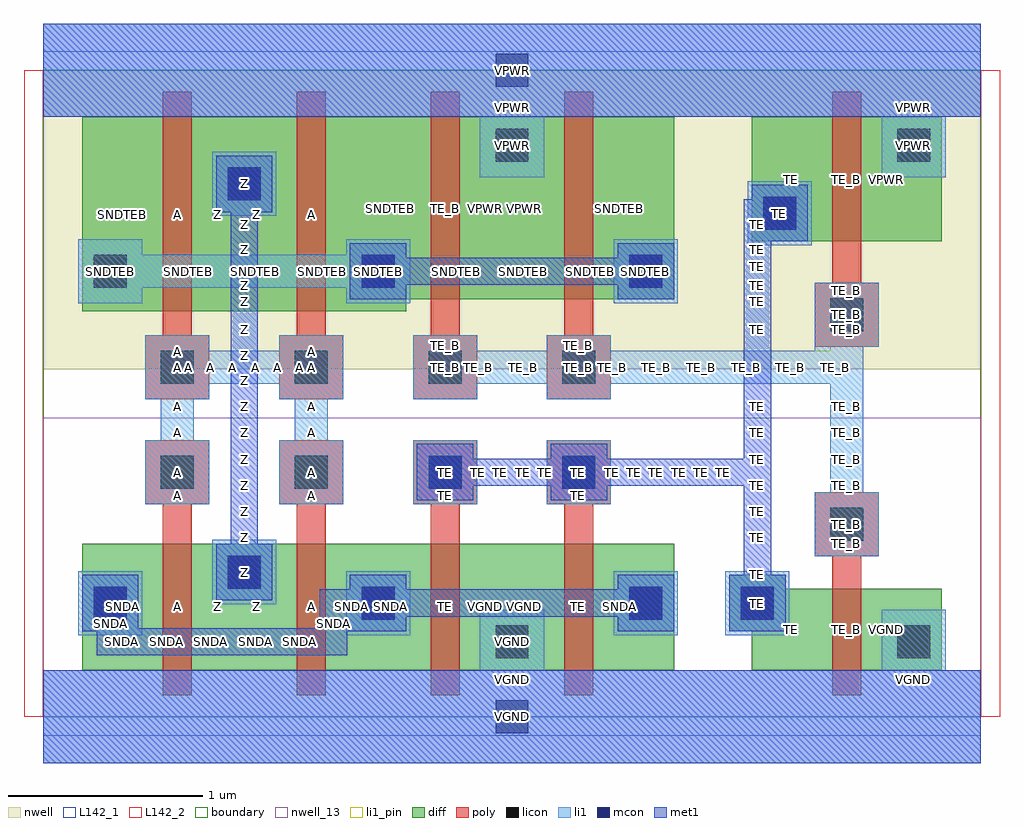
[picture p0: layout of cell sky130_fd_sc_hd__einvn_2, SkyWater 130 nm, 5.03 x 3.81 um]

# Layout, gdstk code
import gdstk
lib = gdstk.Library(unit=1e-6, precision=1e-09)
def R(c, l, rs):  # rectangles x0, y0, x1, y1
    for r in rs: c.add(gdstk.rectangle(r[:2], r[2:], *l))
def A(c, l, x, y, w, h, nx, ny, dx, dy):  # array of equal rectangles
    R(c, l, [(x+i*dx, y+j*dy, x+i*dx+w, y+j*dy+h) for i in range(nx) for j in range(ny)])
def P(c, l, *ps):  # polygons
    for p in ps: c.add(gdstk.Polygon(p, *l))
nwell_13 = (64, 13)
nwell = (64, 20)
diff = (65, 20)
poly = (66, 20)
licon = (66, 44)
li1_pin = (67, 16)
li1 = (67, 20)
mcon = (67, 44)
met1 = (68, 20)
L142_1 = (142, 1)
L142_2 = (142, 2)
boundary = (235, 4)

sky130_fd_sc_hd__einvn_2 = lib.new_cell('sky130_fd_sc_hd__einvn_2')
R(sky130_fd_sc_hd__einvn_2, nwell_13, [(0,0,4.83,1.54)])
R(sky130_fd_sc_hd__einvn_2, nwell, [(0,1.79,4.83,3.33)])
A(sky130_fd_sc_hd__einvn_2, diff, 0.615, 0.24, 0.69, 0.65, 3, 1, 0.69, 0)
R(sky130_fd_sc_hd__einvn_2, diff, [(0.2,0.24,3.25,0.89), (0.2,0.24,0.615,0.89), (2.685,0.24,3.25,0.89), (3.65,0.24,4.63,0.66), (4.065,0.24,4.63,0.66), (0.2,2.09,0.615,3.09), (0.615,2.09,1.305,3.09), (1.995,2.15,2.685,3.09), (2.685,2.15,3.25,3.09), (3.65,2.45,4.63,3.09), (3.65,2.45,4.065,3.09), (4.065,2.45,4.63,3.09)])
P(sky130_fd_sc_hd__einvn_2, diff, [(0.2,2.09),(0.2,3.09),(3.25,3.09),(3.25,2.15),(1.87,2.15),(1.87,2.09)],
  [(3.65,0.24),(3.65,0.44),(3.535,0.44),(3.535,0.73),(3.825,0.73),(3.825,0.66),(4.065,0.66),(4.065,0.24)],
  [(1.305,2.09),(1.305,3.09),(1.995,3.09),(1.995,2.15),(1.87,2.15),(1.87,2.09)])
P(sky130_fd_sc_hd__einvn_2, poly, [(1.995,0.11),(1.995,1.095),(1.905,1.095),(1.905,1.425),(2.235,1.425),(2.235,1.095),(2.145,1.095),(2.145,0.11)],
  [(2.685,0.11),(2.685,1.095),(2.595,1.095),(2.595,1.425),(2.925,1.425),(2.925,1.095),(2.835,1.095),(2.835,0.11)],
  [(4.065,0.11),(4.065,0.825),(3.975,0.825),(3.975,1.155),(4.305,1.155),(4.305,0.825),(4.215,0.825),(4.215,0.11)],
  [(1.905,1.635),(1.905,1.965),(1.995,1.965),(1.995,3.22),(2.145,3.22),(2.145,1.965),(2.235,1.965),(2.235,1.635)],
  [(2.595,1.635),(2.595,1.965),(2.685,1.965),(2.685,3.22),(2.835,3.22),(2.835,1.965),(2.925,1.965),(2.925,1.635)],
  [(3.975,1.905),(3.975,2.235),(4.065,2.235),(4.065,3.22),(4.215,3.22),(4.215,2.235),(4.305,2.235),(4.305,1.905)],
  [(0.615,0.11),(0.615,1.095),(0.525,1.095),(0.525,1.425),(0.855,1.425),(0.855,1.095),(0.765,1.095),(0.765,0.11)],
  [(1.305,0.11),(1.305,1.095),(1.215,1.095),(1.215,1.425),(1.545,1.425),(1.545,1.095),(1.455,1.095),(1.455,0.11)],
  [(0.525,1.635),(0.525,1.965),(0.615,1.965),(0.615,3.22),(0.765,3.22),(0.765,1.965),(0.855,1.965),(0.855,1.635)],
  [(1.215,1.635),(1.215,1.965),(1.305,1.965),(1.305,3.22),(1.455,3.22),(1.455,1.965),(1.545,1.965),(1.545,1.635)])
A(sky130_fd_sc_hd__einvn_2, licon, 0.26, 0.5, 0.17, 0.17, 3, 2, 1.38, 1.71)
A(sky130_fd_sc_hd__einvn_2, licon, 0.605, 1.175, 0.17, 0.17, 4, 2, 0.69, 0.54)
R(sky130_fd_sc_hd__einvn_2, licon, [(2.33,0.3,2.5,0.47), (4.4,0.3,4.57,0.47), (3.595,0.5,3.765,0.67), (0.95,0.66,1.12,0.83), (4.055,0.905,4.225,1.075), (4.055,1.985,4.225,2.155), (3.71,2.51,3.88,2.68), (0.95,2.66,1.12,2.83), (2.33,2.86,2.5,3.03), (4.4,2.86,4.57,3.03)])
R(sky130_fd_sc_hd__einvn_2, li1_pin, [(0,-0.24,4.83,0.24), (0.87,0.58,1.2,0.91), (0,3.09,4.83,3.57)])
P(sky130_fd_sc_hd__einvn_2, li1_pin, [(3.975,0.825),(3.975,1.155),(4.055,1.155),(4.055,1.715),(2.925,1.715),(2.925,1.635),(2.595,1.635),(2.595,1.715),(2.235,1.715),(2.235,1.635),(1.905,1.635),(1.905,1.965),(2.235,1.965),(2.235,1.885),(2.595,1.885),(2.595,1.965),(2.925,1.965),(2.925,1.885),(4.055,1.885),(4.055,1.905),(3.975,1.905),(3.975,2.235),(4.305,2.235),(4.305,1.905),(4.225,1.905),(4.225,1.155),(4.305,1.155),(4.305,0.825)],
  [(0.525,1.095),(0.525,1.425),(0.605,1.425),(0.605,1.635),(0.525,1.635),(0.525,1.965),(0.855,1.965),(0.855,1.885),(1.215,1.885),(1.215,1.965),(1.545,1.965),(1.545,1.635),(1.465,1.635),(1.465,1.425),(1.545,1.425),(1.545,1.095),(1.215,1.095),(1.215,1.425),(1.295,1.425),(1.295,1.635),(1.215,1.635),(1.215,1.715),(0.855,1.715),(0.855,1.635),(0.775,1.635),(0.775,1.425),(0.855,1.425),(0.855,1.095)])
A(sky130_fd_sc_hd__einvn_2, li1, 0.18, 0.42, 0.33, 0.33, 3, 1, 1.38, 0)
R(sky130_fd_sc_hd__einvn_2, li1, [(3.515,0.42,3.845,0.75), (0.87,0.58,1.2,0.91), (1.905,1.095,2.235,1.425), (2.595,1.095,2.925,1.425), (3.975,1.885,4.055,1.905), (2.94,2.13,3.27,2.46), (3.63,2.43,3.96,2.76), (0.87,2.58,1.2,2.91)])
P(sky130_fd_sc_hd__einvn_2, li1, [(0.18,2.13),(0.18,2.46),(0.51,2.46),(0.51,2.38),(1.56,2.38),(1.56,2.46),(1.89,2.46),(1.89,2.13),(1.56,2.13),(1.56,2.21),(0.51,2.21),(0.51,2.13)],
  [(2.25,2.78),(2.25,3.09),(0,3.09),(0,3.57),(4.83,3.57),(4.83,3.09),(4.65,3.09),(4.65,2.78),(4.32,2.78),(4.32,3.09),(2.58,3.09),(2.58,2.78)],
  [(0,-0.24),(0,0.24),(2.25,0.24),(2.25,0.55),(2.58,0.55),(2.58,0.24),(4.32,0.24),(4.32,0.55),(4.65,0.55),(4.65,0.24),(4.83,0.24),(4.83,-0.24)],
  [(3.975,0.825),(3.975,1.155),(4.055,1.155),(4.055,1.715),(2.925,1.715),(2.925,1.635),(2.595,1.635),(2.595,1.715),(2.235,1.715),(2.235,1.635),(1.905,1.635),(1.905,1.965),(2.235,1.965),(2.235,1.885),(2.595,1.885),(2.595,1.965),(2.925,1.965),(2.925,1.885),(4.055,1.885),(4.055,1.905),(3.975,1.905),(3.975,2.235),(4.305,2.235),(4.305,1.905),(4.225,1.905),(4.225,1.155),(4.305,1.155),(4.305,0.825)],
  [(0.525,1.095),(0.525,1.425),(0.605,1.425),(0.605,1.635),(0.525,1.635),(0.525,1.965),(0.855,1.965),(0.855,1.885),(1.215,1.885),(1.215,1.965),(1.545,1.965),(1.545,1.635),(1.465,1.635),(1.465,1.425),(1.545,1.425),(1.545,1.095),(1.215,1.095),(1.215,1.425),(1.295,1.425),(1.295,1.635),(1.215,1.635),(1.215,1.715),(0.855,1.715),(0.855,1.635),(0.775,1.635),(0.775,1.425),(0.855,1.425),(0.855,1.095)])
A(sky130_fd_sc_hd__einvn_2, mcon, 0.26, 0.5, 0.17, 0.17, 3, 1, 1.38, 0)
R(sky130_fd_sc_hd__einvn_2, mcon, [(2.33,-0.085,2.5,0.085), (3.595,0.5,3.765,0.67), (0.95,0.66,1.12,0.83), (1.985,1.175,2.155,1.345), (2.675,1.175,2.845,1.345), (1.64,2.21,1.81,2.38), (3.02,2.21,3.19,2.38), (3.71,2.51,3.88,2.68), (0.95,2.66,1.12,2.83), (2.33,3.245,2.5,3.415)])
R(sky130_fd_sc_hd__einvn_2, met1, [(0,-0.24,4.83,0.24), (1.565,0.44,1.58,0.515), (0,3.09,4.83,3.57)])
P(sky130_fd_sc_hd__einvn_2, met1, [(1.58,2.15),(1.58,2.44),(1.87,2.44),(1.87,2.365),(2.96,2.365),(2.96,2.44),(3.25,2.44),(3.25,2.15),(2.96,2.15),(2.96,2.225),(1.87,2.225),(1.87,2.15)],
  [(3.535,0.44),(3.535,0.73),(3.61,0.73),(3.61,1.19),(2.905,1.19),(2.905,1.115),(2.615,1.115),(2.615,1.19),(2.215,1.19),(2.215,1.115),(1.925,1.115),(1.925,1.405),(2.215,1.405),(2.215,1.33),(2.615,1.33),(2.615,1.405),(2.905,1.405),(2.905,1.33),(3.61,1.33),(3.61,2.665),(3.65,2.665),(3.65,2.74),(3.94,2.74),(3.94,2.45),(3.75,2.45),(3.75,0.73),(3.825,0.73),(3.825,0.44)],
  [(0.89,0.6),(0.89,0.89),(0.965,0.89),(0.965,2.6),(0.89,2.6),(0.89,2.89),(1.18,2.89),(1.18,2.6),(1.105,2.6),(1.105,0.89),(1.18,0.89),(1.18,0.6)],
  [(0.275,0.315),(0.275,0.44),(0.2,0.44),(0.2,0.73),(0.49,0.73),(0.49,0.455),(1.425,0.455),(1.425,0.655),(1.58,0.655),(1.58,0.73),(1.87,0.73),(1.87,0.655),(2.96,0.655),(2.96,0.73),(3.25,0.73),(3.25,0.44),(2.96,0.44),(2.96,0.515),(1.87,0.515),(1.87,0.44),(1.58,0.44),(1.58,0.515),(1.565,0.515),(1.565,0.315)])
R(sky130_fd_sc_hd__einvn_2, L142_1, [(0,-0.1,4.83,0), (0,3.33,4.83,3.43)])
R(sky130_fd_sc_hd__einvn_2, L142_2, [(-0.1,0,0,3.33), (4.83,0,4.93,3.33)])
R(sky130_fd_sc_hd__einvn_2, boundary, [(0,0,4.83,3.33)])
sky130_fd_sc_hd__einvn_2.add(gdstk.Label('SNDA', (1.787,0.565), layer=65, texttype=20))
sky130_fd_sc_hd__einvn_2.add(gdstk.Label('VGND', (2.277,0.565), layer=65, texttype=20))
sky130_fd_sc_hd__einvn_2.add(gdstk.Label('TE', (3.857,0.45), layer=65, texttype=20))
sky130_fd_sc_hd__einvn_2.add(gdstk.Label('VGND', (4.347,0.45), layer=65, texttype=20))
sky130_fd_sc_hd__einvn_2.add(gdstk.Label('Z', (1.097,0.565), layer=65, texttype=20))
sky130_fd_sc_hd__einvn_2.add(gdstk.Label('SNDA', (1.587,0.565), layer=65, texttype=20))
sky130_fd_sc_hd__einvn_2.add(gdstk.Label('VGND', (2.477,0.565), layer=65, texttype=20))
sky130_fd_sc_hd__einvn_2.add(gdstk.Label('SNDA', (2.967,0.565), layer=65, texttype=20))
sky130_fd_sc_hd__einvn_2.add(gdstk.Label('SNDA', (0.407,0.565), layer=65, texttype=20))
sky130_fd_sc_hd__einvn_2.add(gdstk.Label('Z', (0.897,0.565), layer=65, texttype=20))
sky130_fd_sc_hd__einvn_2.add(gdstk.Label('SNDA', (1.787,0.565), layer=65, texttype=20))
sky130_fd_sc_hd__einvn_2.add(gdstk.Label('VGND', (2.277,0.565), layer=65, texttype=20))
sky130_fd_sc_hd__einvn_2.add(gdstk.Label('TE', (3.857,0.45), layer=65, texttype=20))
sky130_fd_sc_hd__einvn_2.add(gdstk.Label('VGND', (4.347,0.45), layer=65, texttype=20))
sky130_fd_sc_hd__einvn_2.add(gdstk.Label('Z', (1.097,0.565), layer=65, texttype=20))
sky130_fd_sc_hd__einvn_2.add(gdstk.Label('SNDA', (1.587,0.565), layer=65, texttype=20))
sky130_fd_sc_hd__einvn_2.add(gdstk.Label('VGND', (2.477,0.565), layer=65, texttype=20))
sky130_fd_sc_hd__einvn_2.add(gdstk.Label('SNDA', (2.967,0.565), layer=65, texttype=20))
sky130_fd_sc_hd__einvn_2.add(gdstk.Label('SNDA', (0.407,0.565), layer=65, texttype=20))
sky130_fd_sc_hd__einvn_2.add(gdstk.Label('Z', (0.897,0.565), layer=65, texttype=20))
sky130_fd_sc_hd__einvn_2.add(gdstk.Label('SNDA', (1.725,0.585), layer=65, texttype=20))
sky130_fd_sc_hd__einvn_2.add(gdstk.Label('SNDA', (3.105,0.585), layer=65, texttype=20))
sky130_fd_sc_hd__einvn_2.add(gdstk.Label('SNDA', (0.345,0.585), layer=65, texttype=20))
sky130_fd_sc_hd__einvn_2.add(gdstk.Label('VGND', (2.415,0.385), layer=65, texttype=20))
sky130_fd_sc_hd__einvn_2.add(gdstk.Label('VGND', (4.485,0.385), layer=65, texttype=20))
sky130_fd_sc_hd__einvn_2.add(gdstk.Label('TE', (3.68,0.585), layer=65, texttype=20))
sky130_fd_sc_hd__einvn_2.add(gdstk.Label('Z', (1.035,0.745), layer=65, texttype=20))
sky130_fd_sc_hd__einvn_2.add(gdstk.Label('SNDTEB', (1.787,2.62), layer=65, texttype=20))
sky130_fd_sc_hd__einvn_2.add(gdstk.Label('VPWR', (2.277,2.62), layer=65, texttype=20))
sky130_fd_sc_hd__einvn_2.add(gdstk.Label('Z', (1.097,2.59), layer=65, texttype=20))
sky130_fd_sc_hd__einvn_2.add(gdstk.Label('SNDTEB', (1.587,2.59), layer=65, texttype=20))
sky130_fd_sc_hd__einvn_2.add(gdstk.Label('SNDTEB', (0.407,2.59), layer=65, texttype=20))
sky130_fd_sc_hd__einvn_2.add(gdstk.Label('Z', (0.897,2.59), layer=65, texttype=20))
sky130_fd_sc_hd__einvn_2.add(gdstk.Label('VPWR', (2.477,2.62), layer=65, texttype=20))
sky130_fd_sc_hd__einvn_2.add(gdstk.Label('SNDTEB', (2.967,2.62), layer=65, texttype=20))
sky130_fd_sc_hd__einvn_2.add(gdstk.Label('TE', (3.857,2.77), layer=65, texttype=20))
sky130_fd_sc_hd__einvn_2.add(gdstk.Label('VPWR', (4.347,2.77), layer=65, texttype=20))
sky130_fd_sc_hd__einvn_2.add(gdstk.Label('SNDTEB', (1.787,2.62), layer=65, texttype=20))
sky130_fd_sc_hd__einvn_2.add(gdstk.Label('VPWR', (2.277,2.62), layer=65, texttype=20))
sky130_fd_sc_hd__einvn_2.add(gdstk.Label('Z', (1.097,2.59), layer=65, texttype=20))
sky130_fd_sc_hd__einvn_2.add(gdstk.Label('SNDTEB', (1.587,2.59), layer=65, texttype=20))
sky130_fd_sc_hd__einvn_2.add(gdstk.Label('SNDTEB', (0.407,2.59), layer=65, texttype=20))
sky130_fd_sc_hd__einvn_2.add(gdstk.Label('Z', (0.897,2.59), layer=65, texttype=20))
sky130_fd_sc_hd__einvn_2.add(gdstk.Label('VPWR', (2.477,2.62), layer=65, texttype=20))
sky130_fd_sc_hd__einvn_2.add(gdstk.Label('SNDTEB', (2.967,2.62), layer=65, texttype=20))
sky130_fd_sc_hd__einvn_2.add(gdstk.Label('TE', (3.857,2.77), layer=65, texttype=20))
sky130_fd_sc_hd__einvn_2.add(gdstk.Label('VPWR', (4.347,2.77), layer=65, texttype=20))
sky130_fd_sc_hd__einvn_2.add(gdstk.Label('TE', (3.795,2.595), layer=65, texttype=20))
sky130_fd_sc_hd__einvn_2.add(gdstk.Label('Z', (1.035,2.745), layer=65, texttype=20))
sky130_fd_sc_hd__einvn_2.add(gdstk.Label('SNDTEB', (1.725,2.295), layer=65, texttype=20))
sky130_fd_sc_hd__einvn_2.add(gdstk.Label('SNDTEB', (3.105,2.295), layer=65, texttype=20))
sky130_fd_sc_hd__einvn_2.add(gdstk.Label('SNDTEB', (0.345,2.295), layer=65, texttype=20))
sky130_fd_sc_hd__einvn_2.add(gdstk.Label('VPWR', (2.415,2.945), layer=65, texttype=20))
sky130_fd_sc_hd__einvn_2.add(gdstk.Label('VPWR', (4.485,2.945), layer=65, texttype=20))
sky130_fd_sc_hd__einvn_2.add(gdstk.Label('TE_B', (2.07,2.62), layer=66, texttype=20))
sky130_fd_sc_hd__einvn_2.add(gdstk.Label('TE', (2.07,0.565), layer=66, texttype=20))
sky130_fd_sc_hd__einvn_2.add(gdstk.Label('A', (1.38,2.59), layer=66, texttype=20))
sky130_fd_sc_hd__einvn_2.add(gdstk.Label('A', (0.69,2.59), layer=66, texttype=20))
sky130_fd_sc_hd__einvn_2.add(gdstk.Label('TE_B', (4.14,0.45), layer=66, texttype=20))
sky130_fd_sc_hd__einvn_2.add(gdstk.Label('TE_B', (2.76,2.62), layer=66, texttype=20))
sky130_fd_sc_hd__einvn_2.add(gdstk.Label('TE_B', (4.14,2.77), layer=66, texttype=20))
sky130_fd_sc_hd__einvn_2.add(gdstk.Label('A', (1.38,0.565), layer=66, texttype=20))
sky130_fd_sc_hd__einvn_2.add(gdstk.Label('TE', (2.76,0.565), layer=66, texttype=20))
sky130_fd_sc_hd__einvn_2.add(gdstk.Label('A', (0.69,0.565), layer=66, texttype=20))
sky130_fd_sc_hd__einvn_2.add(gdstk.Label('TE_B', (2.07,2.62), layer=66, texttype=20))
sky130_fd_sc_hd__einvn_2.add(gdstk.Label('TE', (2.07,0.565), layer=66, texttype=20))
sky130_fd_sc_hd__einvn_2.add(gdstk.Label('A', (1.38,2.59), layer=66, texttype=20))
sky130_fd_sc_hd__einvn_2.add(gdstk.Label('A', (0.69,2.59), layer=66, texttype=20))
sky130_fd_sc_hd__einvn_2.add(gdstk.Label('TE_B', (4.14,0.45), layer=66, texttype=20))
sky130_fd_sc_hd__einvn_2.add(gdstk.Label('TE_B', (2.76,2.62), layer=66, texttype=20))
sky130_fd_sc_hd__einvn_2.add(gdstk.Label('TE_B', (4.14,2.77), layer=66, texttype=20))
sky130_fd_sc_hd__einvn_2.add(gdstk.Label('A', (1.38,0.565), layer=66, texttype=20))
sky130_fd_sc_hd__einvn_2.add(gdstk.Label('TE', (2.76,0.565), layer=66, texttype=20))
sky130_fd_sc_hd__einvn_2.add(gdstk.Label('A', (0.69,0.565), layer=66, texttype=20))
sky130_fd_sc_hd__einvn_2.add(gdstk.Label('TE', (2.76,1.14), layer=66, texttype=20))
sky130_fd_sc_hd__einvn_2.add(gdstk.Label('TE', (2.07,1.14), layer=66, texttype=20))
sky130_fd_sc_hd__einvn_2.add(gdstk.Label('TE_B', (2.07,1.91), layer=66, texttype=20))
sky130_fd_sc_hd__einvn_2.add(gdstk.Label('TE_B', (2.76,1.91), layer=66, texttype=20))
sky130_fd_sc_hd__einvn_2.add(gdstk.Label('TE_B', (4.14,2.195), layer=66, texttype=20))
sky130_fd_sc_hd__einvn_2.add(gdstk.Label('TE_B', (4.14,0.89), layer=66, texttype=20))
sky130_fd_sc_hd__einvn_2.add(gdstk.Label('A', (1.38,1.88), layer=66, texttype=20))
sky130_fd_sc_hd__einvn_2.add(gdstk.Label('A', (1.38,1.14), layer=66, texttype=20))
sky130_fd_sc_hd__einvn_2.add(gdstk.Label('A', (0.69,1.88), layer=66, texttype=20))
sky130_fd_sc_hd__einvn_2.add(gdstk.Label('A', (0.69,1.14), layer=66, texttype=20))
sky130_fd_sc_hd__einvn_2.add(gdstk.Label('TE', (2.76,1.26), layer=66, texttype=20))
sky130_fd_sc_hd__einvn_2.add(gdstk.Label('TE', (2.07,1.26), layer=66, texttype=20))
sky130_fd_sc_hd__einvn_2.add(gdstk.Label('TE_B', (2.07,1.8), layer=66, texttype=20))
sky130_fd_sc_hd__einvn_2.add(gdstk.Label('TE_B', (2.76,1.8), layer=66, texttype=20))
sky130_fd_sc_hd__einvn_2.add(gdstk.Label('TE_B', (4.14,2.07), layer=66, texttype=20))
sky130_fd_sc_hd__einvn_2.add(gdstk.Label('TE_B', (4.14,0.99), layer=66, texttype=20))
sky130_fd_sc_hd__einvn_2.add(gdstk.Label('A', (1.38,1.8), layer=66, texttype=20))
sky130_fd_sc_hd__einvn_2.add(gdstk.Label('A', (1.38,1.26), layer=66, texttype=20))
sky130_fd_sc_hd__einvn_2.add(gdstk.Label('A', (0.69,1.8), layer=66, texttype=20))
sky130_fd_sc_hd__einvn_2.add(gdstk.Label('A', (0.69,1.26), layer=66, texttype=20))
sky130_fd_sc_hd__einvn_2.add(gdstk.Label('TE', (3.795,2.595), layer=66, texttype=44))
sky130_fd_sc_hd__einvn_2.add(gdstk.Label('Z', (1.035,2.745), layer=66, texttype=44))
sky130_fd_sc_hd__einvn_2.add(gdstk.Label('SNDTEB', (1.725,2.295), layer=66, texttype=44))
sky130_fd_sc_hd__einvn_2.add(gdstk.Label('SNDTEB', (3.105,2.295), layer=66, texttype=44))
sky130_fd_sc_hd__einvn_2.add(gdstk.Label('SNDTEB', (0.345,2.295), layer=66, texttype=44))
sky130_fd_sc_hd__einvn_2.add(gdstk.Label('VPWR', (2.415,2.945), layer=66, texttype=44))
sky130_fd_sc_hd__einvn_2.add(gdstk.Label('VPWR', (4.485,2.945), layer=66, texttype=44))
sky130_fd_sc_hd__einvn_2.add(gdstk.Label('SNDA', (1.725,0.585), layer=66, texttype=44))
sky130_fd_sc_hd__einvn_2.add(gdstk.Label('SNDA', (3.105,0.585), layer=66, texttype=44))
sky130_fd_sc_hd__einvn_2.add(gdstk.Label('SNDA', (0.345,0.585), layer=66, texttype=44))
sky130_fd_sc_hd__einvn_2.add(gdstk.Label('VGND', (2.415,0.385), layer=66, texttype=44))
sky130_fd_sc_hd__einvn_2.add(gdstk.Label('VGND', (4.485,0.385), layer=66, texttype=44))
sky130_fd_sc_hd__einvn_2.add(gdstk.Label('TE', (3.68,0.585), layer=66, texttype=44))
sky130_fd_sc_hd__einvn_2.add(gdstk.Label('Z', (1.035,0.745), layer=66, texttype=44))
sky130_fd_sc_hd__einvn_2.add(gdstk.Label('TE', (2.76,1.26), layer=66, texttype=44))
sky130_fd_sc_hd__einvn_2.add(gdstk.Label('TE', (2.07,1.26), layer=66, texttype=44))
sky130_fd_sc_hd__einvn_2.add(gdstk.Label('TE_B', (2.07,1.8), layer=66, texttype=44))
sky130_fd_sc_hd__einvn_2.add(gdstk.Label('TE_B', (2.76,1.8), layer=66, texttype=44))
sky130_fd_sc_hd__einvn_2.add(gdstk.Label('TE_B', (4.14,2.07), layer=66, texttype=44))
sky130_fd_sc_hd__einvn_2.add(gdstk.Label('TE_B', (4.14,0.99), layer=66, texttype=44))
sky130_fd_sc_hd__einvn_2.add(gdstk.Label('A', (1.38,1.8), layer=66, texttype=44))
sky130_fd_sc_hd__einvn_2.add(gdstk.Label('A', (1.38,1.26), layer=66, texttype=44))
sky130_fd_sc_hd__einvn_2.add(gdstk.Label('A', (0.69,1.8), layer=66, texttype=44))
sky130_fd_sc_hd__einvn_2.add(gdstk.Label('A', (0.69,1.26), layer=66, texttype=44))
sky130_fd_sc_hd__einvn_2.add(gdstk.Label('VPWR', (2.415,3.33), layer=67, texttype=20))
sky130_fd_sc_hd__einvn_2.add(gdstk.Label('VGND', (2.415,0), layer=67, texttype=20))
sky130_fd_sc_hd__einvn_2.add(gdstk.Label('VPWR', (2.415,3.33), layer=67, texttype=20))
sky130_fd_sc_hd__einvn_2.add(gdstk.Label('VGND', (2.415,0), layer=67, texttype=20))
sky130_fd_sc_hd__einvn_2.add(gdstk.Label('VGND', (2.415,0.192), layer=67, texttype=20))
sky130_fd_sc_hd__einvn_2.add(gdstk.Label('VGND', (4.485,0.192), layer=67, texttype=20))
sky130_fd_sc_hd__einvn_2.add(gdstk.Label('SNDTEB', (1.667,2.295), layer=67, texttype=20))
sky130_fd_sc_hd__einvn_2.add(gdstk.Label('SNDTEB', (1.552,2.295), layer=67, texttype=20))
sky130_fd_sc_hd__einvn_2.add(gdstk.Label('SNDTEB', (1.437,2.295), layer=67, texttype=20))
sky130_fd_sc_hd__einvn_2.add(gdstk.Label('SNDTEB', (1.322,2.295), layer=67, texttype=20))
sky130_fd_sc_hd__einvn_2.add(gdstk.Label('SNDTEB', (1.207,2.295), layer=67, texttype=20))
sky130_fd_sc_hd__einvn_2.add(gdstk.Label('SNDTEB', (1.092,2.295), layer=67, texttype=20))
sky130_fd_sc_hd__einvn_2.add(gdstk.Label('SNDTEB', (0.977,2.295), layer=67, texttype=20))
sky130_fd_sc_hd__einvn_2.add(gdstk.Label('SNDTEB', (0.862,2.295), layer=67, texttype=20))
sky130_fd_sc_hd__einvn_2.add(gdstk.Label('SNDTEB', (0.747,2.295), layer=67, texttype=20))
sky130_fd_sc_hd__einvn_2.add(gdstk.Label('SNDTEB', (0.632,2.295), layer=67, texttype=20))
sky130_fd_sc_hd__einvn_2.add(gdstk.Label('SNDTEB', (0.517,2.295), layer=67, texttype=20))
sky130_fd_sc_hd__einvn_2.add(gdstk.Label('SNDTEB', (0.402,2.295), layer=67, texttype=20))
sky130_fd_sc_hd__einvn_2.add(gdstk.Label('VPWR', (2.415,3.137), layer=67, texttype=20))
sky130_fd_sc_hd__einvn_2.add(gdstk.Label('VPWR', (4.485,3.137), layer=67, texttype=20))
sky130_fd_sc_hd__einvn_2.add(gdstk.Label('TE_B', (2.127,1.8), layer=67, texttype=20))
sky130_fd_sc_hd__einvn_2.add(gdstk.Label('TE_B', (2.242,1.8), layer=67, texttype=20))
sky130_fd_sc_hd__einvn_2.add(gdstk.Label('TE_B', (2.357,1.8), layer=67, texttype=20))
sky130_fd_sc_hd__einvn_2.add(gdstk.Label('TE_B', (2.472,1.8), layer=67, texttype=20))
sky130_fd_sc_hd__einvn_2.add(gdstk.Label('TE_B', (2.587,1.8), layer=67, texttype=20))
sky130_fd_sc_hd__einvn_2.add(gdstk.Label('TE_B', (2.702,1.8), layer=67, texttype=20))
sky130_fd_sc_hd__einvn_2.add(gdstk.Label('TE_B', (2.817,1.8), layer=67, texttype=20))
sky130_fd_sc_hd__einvn_2.add(gdstk.Label('TE_B', (2.932,1.8), layer=67, texttype=20))
sky130_fd_sc_hd__einvn_2.add(gdstk.Label('TE_B', (3.047,1.8), layer=67, texttype=20))
sky130_fd_sc_hd__einvn_2.add(gdstk.Label('TE_B', (3.162,1.8), layer=67, texttype=20))
sky130_fd_sc_hd__einvn_2.add(gdstk.Label('TE_B', (3.277,1.8), layer=67, texttype=20))
sky130_fd_sc_hd__einvn_2.add(gdstk.Label('TE_B', (3.392,1.8), layer=67, texttype=20))
sky130_fd_sc_hd__einvn_2.add(gdstk.Label('TE_B', (3.507,1.8), layer=67, texttype=20))
sky130_fd_sc_hd__einvn_2.add(gdstk.Label('TE_B', (3.622,1.8), layer=67, texttype=20))
sky130_fd_sc_hd__einvn_2.add(gdstk.Label('TE_B', (3.737,1.8), layer=67, texttype=20))
sky130_fd_sc_hd__einvn_2.add(gdstk.Label('TE_B', (3.852,1.8), layer=67, texttype=20))
sky130_fd_sc_hd__einvn_2.add(gdstk.Label('TE_B', (3.967,1.8), layer=67, texttype=20))
sky130_fd_sc_hd__einvn_2.add(gdstk.Label('TE_B', (4.082,1.8), layer=67, texttype=20))
sky130_fd_sc_hd__einvn_2.add(gdstk.Label('TE_B', (4.14,1.862), layer=67, texttype=20))
sky130_fd_sc_hd__einvn_2.add(gdstk.Label('TE_B', (4.14,1.732), layer=67, texttype=20))
sky130_fd_sc_hd__einvn_2.add(gdstk.Label('TE_B', (4.14,1.997), layer=67, texttype=20))
sky130_fd_sc_hd__einvn_2.add(gdstk.Label('TE_B', (4.14,1.597), layer=67, texttype=20))
sky130_fd_sc_hd__einvn_2.add(gdstk.Label('TE_B', (4.14,1.462), layer=67, texttype=20))
sky130_fd_sc_hd__einvn_2.add(gdstk.Label('TE_B', (4.14,1.327), layer=67, texttype=20))
sky130_fd_sc_hd__einvn_2.add(gdstk.Label('TE_B', (4.14,1.192), layer=67, texttype=20))
sky130_fd_sc_hd__einvn_2.add(gdstk.Label('TE_B', (4.14,1.057), layer=67, texttype=20))
sky130_fd_sc_hd__einvn_2.add(gdstk.Label('A', (1.38,1.732), layer=67, texttype=20))
sky130_fd_sc_hd__einvn_2.add(gdstk.Label('A', (1.322,1.8), layer=67, texttype=20))
sky130_fd_sc_hd__einvn_2.add(gdstk.Label('A', (1.38,1.597), layer=67, texttype=20))
sky130_fd_sc_hd__einvn_2.add(gdstk.Label('A', (1.38,1.462), layer=67, texttype=20))
sky130_fd_sc_hd__einvn_2.add(gdstk.Label('A', (1.38,1.327), layer=67, texttype=20))
sky130_fd_sc_hd__einvn_2.add(gdstk.Label('A', (1.207,1.8), layer=67, texttype=20))
sky130_fd_sc_hd__einvn_2.add(gdstk.Label('A', (1.092,1.8), layer=67, texttype=20))
sky130_fd_sc_hd__einvn_2.add(gdstk.Label('A', (0.977,1.8), layer=67, texttype=20))
sky130_fd_sc_hd__einvn_2.add(gdstk.Label('A', (0.862,1.8), layer=67, texttype=20))
sky130_fd_sc_hd__einvn_2.add(gdstk.Label('A', (0.747,1.8), layer=67, texttype=20))
sky130_fd_sc_hd__einvn_2.add(gdstk.Label('A', (0.69,1.732), layer=67, texttype=20))
sky130_fd_sc_hd__einvn_2.add(gdstk.Label('A', (0.69,1.597), layer=67, texttype=20))
sky130_fd_sc_hd__einvn_2.add(gdstk.Label('A', (0.69,1.462), layer=67, texttype=20))
sky130_fd_sc_hd__einvn_2.add(gdstk.Label('A', (0.69,1.327), layer=67, texttype=20))
sky130_fd_sc_hd__einvn_2.add(gdstk.Label('SNDA', (1.725,0.585), layer=67, texttype=20))
sky130_fd_sc_hd__einvn_2.add(gdstk.Label('SNDA', (1.725,0.585), layer=67, texttype=20))
sky130_fd_sc_hd__einvn_2.add(gdstk.Label('SNDA', (3.105,0.585), layer=67, texttype=20))
sky130_fd_sc_hd__einvn_2.add(gdstk.Label('SNDA', (3.105,0.585), layer=67, texttype=20))
sky130_fd_sc_hd__einvn_2.add(gdstk.Label('SNDA', (0.345,0.585), layer=67, texttype=20))
sky130_fd_sc_hd__einvn_2.add(gdstk.Label('SNDA', (0.345,0.585), layer=67, texttype=20))
sky130_fd_sc_hd__einvn_2.add(gdstk.Label('VGND', (2.415,0.385), layer=67, texttype=20))
sky130_fd_sc_hd__einvn_2.add(gdstk.Label('VGND', (2.415,0), layer=67, texttype=20))
sky130_fd_sc_hd__einvn_2.add(gdstk.Label('VGND', (4.485,0.385), layer=67, texttype=20))
sky130_fd_sc_hd__einvn_2.add(gdstk.Label('TE', (3.68,0.585), layer=67, texttype=20))
sky130_fd_sc_hd__einvn_2.add(gdstk.Label('TE', (3.68,0.585), layer=67, texttype=20))
sky130_fd_sc_hd__einvn_2.add(gdstk.Label('TE', (2.76,1.26), layer=67, texttype=20))
sky130_fd_sc_hd__einvn_2.add(gdstk.Label('TE', (2.76,1.26), layer=67, texttype=20))
sky130_fd_sc_hd__einvn_2.add(gdstk.Label('TE', (2.07,1.26), layer=67, texttype=20))
sky130_fd_sc_hd__einvn_2.add(gdstk.Label('TE', (2.07,1.26), layer=67, texttype=20))
sky130_fd_sc_hd__einvn_2.add(gdstk.Label('TE', (3.795,2.595), layer=67, texttype=20))
sky130_fd_sc_hd__einvn_2.add(gdstk.Label('TE', (3.795,2.595), layer=67, texttype=20))
sky130_fd_sc_hd__einvn_2.add(gdstk.Label('Z', (1.035,0.745), layer=67, texttype=20))
sky130_fd_sc_hd__einvn_2.add(gdstk.Label('Z', (1.035,0.745), layer=67, texttype=20))
sky130_fd_sc_hd__einvn_2.add(gdstk.Label('Z', (1.035,2.745), layer=67, texttype=20))
sky130_fd_sc_hd__einvn_2.add(gdstk.Label('Z', (1.035,2.745), layer=67, texttype=20))
sky130_fd_sc_hd__einvn_2.add(gdstk.Label('SNDTEB', (1.725,2.295), layer=67, texttype=20))
sky130_fd_sc_hd__einvn_2.add(gdstk.Label('SNDTEB', (1.725,2.295), layer=67, texttype=20))
sky130_fd_sc_hd__einvn_2.add(gdstk.Label('SNDTEB', (3.105,2.295), layer=67, texttype=20))
sky130_fd_sc_hd__einvn_2.add(gdstk.Label('SNDTEB', (3.105,2.295), layer=67, texttype=20))
sky130_fd_sc_hd__einvn_2.add(gdstk.Label('SNDTEB', (0.345,2.295), layer=67, texttype=20))
sky130_fd_sc_hd__einvn_2.add(gdstk.Label('VPWR', (2.415,2.945), layer=67, texttype=20))
sky130_fd_sc_hd__einvn_2.add(gdstk.Label('VPWR', (2.415,3.33), layer=67, texttype=20))
sky130_fd_sc_hd__einvn_2.add(gdstk.Label('VPWR', (4.485,2.945), layer=67, texttype=20))
sky130_fd_sc_hd__einvn_2.add(gdstk.Label('TE_B', (2.07,1.8), layer=67, texttype=20))
sky130_fd_sc_hd__einvn_2.add(gdstk.Label('TE_B', (2.76,1.8), layer=67, texttype=20))
sky130_fd_sc_hd__einvn_2.add(gdstk.Label('TE_B', (4.14,2.07), layer=67, texttype=20))
sky130_fd_sc_hd__einvn_2.add(gdstk.Label('TE_B', (4.14,0.99), layer=67, texttype=20))
sky130_fd_sc_hd__einvn_2.add(gdstk.Label('A', (1.38,1.8), layer=67, texttype=20))
sky130_fd_sc_hd__einvn_2.add(gdstk.Label('A', (1.38,1.26), layer=67, texttype=20))
sky130_fd_sc_hd__einvn_2.add(gdstk.Label('A', (0.69,1.8), layer=67, texttype=20))
sky130_fd_sc_hd__einvn_2.add(gdstk.Label('A', (0.69,1.26), layer=67, texttype=20))
sky130_fd_sc_hd__einvn_2.add(gdstk.Label('Z', (1.035,0.745), layer=67, texttype=5))
sky130_fd_sc_hd__einvn_2.add(gdstk.Label('TE_B', (4.14,2.07), layer=67, texttype=5))
sky130_fd_sc_hd__einvn_2.add(gdstk.Label('A', (0.69,1.26), layer=67, texttype=5))
sky130_fd_sc_hd__einvn_2.add(gdstk.Label('VGND', (2.415,0), layer=67, texttype=5))
sky130_fd_sc_hd__einvn_2.add(gdstk.Label('VPWR', (2.415,3.33), layer=67, texttype=5))
sky130_fd_sc_hd__einvn_2.add(gdstk.Label('SNDA', (1.725,0.585), layer=67, texttype=44))
sky130_fd_sc_hd__einvn_2.add(gdstk.Label('SNDA', (3.105,0.585), layer=67, texttype=44))
sky130_fd_sc_hd__einvn_2.add(gdstk.Label('SNDA', (0.345,0.585), layer=67, texttype=44))
sky130_fd_sc_hd__einvn_2.add(gdstk.Label('VGND', (2.415,0), layer=67, texttype=44))
sky130_fd_sc_hd__einvn_2.add(gdstk.Label('TE', (3.68,0.585), layer=67, texttype=44))
sky130_fd_sc_hd__einvn_2.add(gdstk.Label('TE', (2.76,1.26), layer=67, texttype=44))
sky130_fd_sc_hd__einvn_2.add(gdstk.Label('TE', (2.07,1.26), layer=67, texttype=44))
sky130_fd_sc_hd__einvn_2.add(gdstk.Label('TE', (3.795,2.595), layer=67, texttype=44))
sky130_fd_sc_hd__einvn_2.add(gdstk.Label('Z', (1.035,0.745), layer=67, texttype=44))
sky130_fd_sc_hd__einvn_2.add(gdstk.Label('Z', (1.035,2.745), layer=67, texttype=44))
sky130_fd_sc_hd__einvn_2.add(gdstk.Label('SNDTEB', (1.725,2.295), layer=67, texttype=44))
sky130_fd_sc_hd__einvn_2.add(gdstk.Label('SNDTEB', (3.105,2.295), layer=67, texttype=44))
sky130_fd_sc_hd__einvn_2.add(gdstk.Label('VPWR', (2.415,3.33), layer=67, texttype=44))
sky130_fd_sc_hd__einvn_2.add(gdstk.Label('VPWR', (2.415,3.33), layer=68, texttype=20))
sky130_fd_sc_hd__einvn_2.add(gdstk.Label('VPWR', (2.415,3.33), layer=68, texttype=20))
sky130_fd_sc_hd__einvn_2.add(gdstk.Label('TE', (3.68,1.732), layer=68, texttype=20))
sky130_fd_sc_hd__einvn_2.add(gdstk.Label('TE', (3.68,1.862), layer=68, texttype=20))
sky130_fd_sc_hd__einvn_2.add(gdstk.Label('TE', (3.68,1.997), layer=68, texttype=20))
sky130_fd_sc_hd__einvn_2.add(gdstk.Label('TE', (3.68,2.137), layer=68, texttype=20))
sky130_fd_sc_hd__einvn_2.add(gdstk.Label('TE', (3.68,2.22), layer=68, texttype=20))
sky130_fd_sc_hd__einvn_2.add(gdstk.Label('TE', (3.68,2.265), layer=68, texttype=20))
sky130_fd_sc_hd__einvn_2.add(gdstk.Label('TE', (3.68,2.317), layer=68, texttype=20))
sky130_fd_sc_hd__einvn_2.add(gdstk.Label('TE', (3.68,2.407), layer=68, texttype=20))
sky130_fd_sc_hd__einvn_2.add(gdstk.Label('TE', (3.68,2.535), layer=68, texttype=20))
sky130_fd_sc_hd__einvn_2.add(gdstk.Label('TE', (3.737,2.595), layer=68, texttype=20))
sky130_fd_sc_hd__einvn_2.add(gdstk.Label('SNDTEB', (2.127,2.295), layer=68, texttype=20))
sky130_fd_sc_hd__einvn_2.add(gdstk.Label('SNDTEB', (2.242,2.295), layer=68, texttype=20))
sky130_fd_sc_hd__einvn_2.add(gdstk.Label('SNDTEB', (2.357,2.295), layer=68, texttype=20))
sky130_fd_sc_hd__einvn_2.add(gdstk.Label('SNDTEB', (2.472,2.295), layer=68, texttype=20))
sky130_fd_sc_hd__einvn_2.add(gdstk.Label('SNDTEB', (2.587,2.295), layer=68, texttype=20))
sky130_fd_sc_hd__einvn_2.add(gdstk.Label('SNDTEB', (2.702,2.295), layer=68, texttype=20))
sky130_fd_sc_hd__einvn_2.add(gdstk.Label('SNDTEB', (2.817,2.295), layer=68, texttype=20))
sky130_fd_sc_hd__einvn_2.add(gdstk.Label('SNDTEB', (2.932,2.295), layer=68, texttype=20))
sky130_fd_sc_hd__einvn_2.add(gdstk.Label('SNDTEB', (3.047,2.295), layer=68, texttype=20))
sky130_fd_sc_hd__einvn_2.add(gdstk.Label('TE', (3.795,2.595), layer=68, texttype=20))
sky130_fd_sc_hd__einvn_2.add(gdstk.Label('SNDTEB', (3.105,2.295), layer=68, texttype=20))
sky130_fd_sc_hd__einvn_2.add(gdstk.Label('VPWR', (2.415,3.33), layer=68, texttype=20))
sky130_fd_sc_hd__einvn_2.add(gdstk.Label('SNDTEB', (1.897,2.295), layer=68, texttype=20))
sky130_fd_sc_hd__einvn_2.add(gdstk.Label('SNDTEB', (2.012,2.295), layer=68, texttype=20))
sky130_fd_sc_hd__einvn_2.add(gdstk.Label('Z', (1.035,1.732), layer=68, texttype=20))
sky130_fd_sc_hd__einvn_2.add(gdstk.Label('Z', (1.035,1.862), layer=68, texttype=20))
sky130_fd_sc_hd__einvn_2.add(gdstk.Label('Z', (1.035,1.997), layer=68, texttype=20))
sky130_fd_sc_hd__einvn_2.add(gdstk.Label('Z', (1.035,2.137), layer=68, texttype=20))
sky130_fd_sc_hd__einvn_2.add(gdstk.Label('Z', (1.035,2.22), layer=68, texttype=20))
sky130_fd_sc_hd__einvn_2.add(gdstk.Label('Z', (1.035,2.265), layer=68, texttype=20))
sky130_fd_sc_hd__einvn_2.add(gdstk.Label('Z', (1.035,2.317), layer=68, texttype=20))
sky130_fd_sc_hd__einvn_2.add(gdstk.Label('Z', (1.035,2.407), layer=68, texttype=20))
sky130_fd_sc_hd__einvn_2.add(gdstk.Label('Z', (1.035,2.535), layer=68, texttype=20))
sky130_fd_sc_hd__einvn_2.add(gdstk.Label('Z', (1.035,2.602), layer=68, texttype=20))
sky130_fd_sc_hd__einvn_2.add(gdstk.Label('Z', (1.035,2.745), layer=68, texttype=20))
sky130_fd_sc_hd__einvn_2.add(gdstk.Label('SNDTEB', (1.725,2.295), layer=68, texttype=20))
sky130_fd_sc_hd__einvn_2.add(gdstk.Label('Z', (1.035,2.677), layer=68, texttype=20))
sky130_fd_sc_hd__einvn_2.add(gdstk.Label('SNDTEB', (1.782,2.295), layer=68, texttype=20))
sky130_fd_sc_hd__einvn_2.add(gdstk.Label('Z', (1.035,1.462), layer=68, texttype=20))
sky130_fd_sc_hd__einvn_2.add(gdstk.Label('Z', (1.035,1.597), layer=68, texttype=20))
sky130_fd_sc_hd__einvn_2.add(gdstk.Label('SNDA', (1.322,0.385), layer=68, texttype=20))
sky130_fd_sc_hd__einvn_2.add(gdstk.Label('SNDA', (1.207,0.385), layer=68, texttype=20))
sky130_fd_sc_hd__einvn_2.add(gdstk.Label('SNDA', (1.092,0.385), layer=68, texttype=20))
sky130_fd_sc_hd__einvn_2.add(gdstk.Label('SNDA', (0.977,0.385), layer=68, texttype=20))
sky130_fd_sc_hd__einvn_2.add(gdstk.Label('SNDA', (0.862,0.385), layer=68, texttype=20))
sky130_fd_sc_hd__einvn_2.add(gdstk.Label('SNDA', (0.747,0.385), layer=68, texttype=20))
sky130_fd_sc_hd__einvn_2.add(gdstk.Label('SNDA', (0.632,0.385), layer=68, texttype=20))
sky130_fd_sc_hd__einvn_2.add(gdstk.Label('SNDA', (0.517,0.385), layer=68, texttype=20))
sky130_fd_sc_hd__einvn_2.add(gdstk.Label('SNDA', (0.402,0.385), layer=68, texttype=20))
sky130_fd_sc_hd__einvn_2.add(gdstk.Label('SNDA', (0.345,0.405), layer=68, texttype=20))
sky130_fd_sc_hd__einvn_2.add(gdstk.Label('SNDA', (0.345,0.437), layer=68, texttype=20))
sky130_fd_sc_hd__einvn_2.add(gdstk.Label('SNDA', (0.345,0.482), layer=68, texttype=20))
sky130_fd_sc_hd__einvn_2.add(gdstk.Label('SNDA', (0.345,0.55), layer=68, texttype=20))
sky130_fd_sc_hd__einvn_2.add(gdstk.Label('SNDA', (1.782,0.585), layer=68, texttype=20))
sky130_fd_sc_hd__einvn_2.add(gdstk.Label('SNDA', (1.667,0.585), layer=68, texttype=20))
sky130_fd_sc_hd__einvn_2.add(gdstk.Label('SNDA', (1.897,0.585), layer=68, texttype=20))
sky130_fd_sc_hd__einvn_2.add(gdstk.Label('SNDA', (2.012,0.585), layer=68, texttype=20))
sky130_fd_sc_hd__einvn_2.add(gdstk.Label('SNDA', (1.552,0.585), layer=68, texttype=20))
sky130_fd_sc_hd__einvn_2.add(gdstk.Label('SNDA', (1.495,0.55), layer=68, texttype=20))
sky130_fd_sc_hd__einvn_2.add(gdstk.Label('SNDA', (1.495,0.482), layer=68, texttype=20))
sky130_fd_sc_hd__einvn_2.add(gdstk.Label('SNDA', (1.495,0.437), layer=68, texttype=20))
sky130_fd_sc_hd__einvn_2.add(gdstk.Label('SNDA', (1.495,0.405), layer=68, texttype=20))
sky130_fd_sc_hd__einvn_2.add(gdstk.Label('SNDA', (1.437,0.385), layer=68, texttype=20))
sky130_fd_sc_hd__einvn_2.add(gdstk.Label('SNDA', (1.725,0.585), layer=68, texttype=20))
sky130_fd_sc_hd__einvn_2.add(gdstk.Label('SNDA', (0.345,0.585), layer=68, texttype=20))
sky130_fd_sc_hd__einvn_2.add(gdstk.Label('TE', (2.07,1.26), layer=68, texttype=20))
sky130_fd_sc_hd__einvn_2.add(gdstk.Label('Z', (1.035,0.8), layer=68, texttype=20))
sky130_fd_sc_hd__einvn_2.add(gdstk.Label('Z', (1.035,0.745), layer=68, texttype=20))
sky130_fd_sc_hd__einvn_2.add(gdstk.Label('Z', (1.035,0.922), layer=68, texttype=20))
sky130_fd_sc_hd__einvn_2.add(gdstk.Label('Z', (1.035,1.057), layer=68, texttype=20))
sky130_fd_sc_hd__einvn_2.add(gdstk.Label('Z', (1.035,1.192), layer=68, texttype=20))
sky130_fd_sc_hd__einvn_2.add(gdstk.Label('Z', (1.035,1.327), layer=68, texttype=20))
sky130_fd_sc_hd__einvn_2.add(gdstk.Label('TE', (3.68,1.057), layer=68, texttype=20))
sky130_fd_sc_hd__einvn_2.add(gdstk.Label('TE', (3.68,1.192), layer=68, texttype=20))
sky130_fd_sc_hd__einvn_2.add(gdstk.Label('TE', (3.68,1.327), layer=68, texttype=20))
sky130_fd_sc_hd__einvn_2.add(gdstk.Label('TE', (3.622,1.26), layer=68, texttype=20))
sky130_fd_sc_hd__einvn_2.add(gdstk.Label('TE', (3.507,1.26), layer=68, texttype=20))
sky130_fd_sc_hd__einvn_2.add(gdstk.Label('TE', (3.392,1.26), layer=68, texttype=20))
sky130_fd_sc_hd__einvn_2.add(gdstk.Label('TE', (3.277,1.26), layer=68, texttype=20))
sky130_fd_sc_hd__einvn_2.add(gdstk.Label('TE', (3.162,1.26), layer=68, texttype=20))
sky130_fd_sc_hd__einvn_2.add(gdstk.Label('TE', (3.047,1.26), layer=68, texttype=20))
sky130_fd_sc_hd__einvn_2.add(gdstk.Label('TE', (2.932,1.26), layer=68, texttype=20))
sky130_fd_sc_hd__einvn_2.add(gdstk.Label('TE', (2.817,1.26), layer=68, texttype=20))
sky130_fd_sc_hd__einvn_2.add(gdstk.Label('TE', (2.702,1.26), layer=68, texttype=20))
sky130_fd_sc_hd__einvn_2.add(gdstk.Label('TE', (2.587,1.26), layer=68, texttype=20))
sky130_fd_sc_hd__einvn_2.add(gdstk.Label('TE', (2.472,1.26), layer=68, texttype=20))
sky130_fd_sc_hd__einvn_2.add(gdstk.Label('TE', (2.357,1.26), layer=68, texttype=20))
sky130_fd_sc_hd__einvn_2.add(gdstk.Label('TE', (2.242,1.26), layer=68, texttype=20))
sky130_fd_sc_hd__einvn_2.add(gdstk.Label('TE', (2.127,1.26), layer=68, texttype=20))
sky130_fd_sc_hd__einvn_2.add(gdstk.Label('TE', (3.68,1.462), layer=68, texttype=20))
sky130_fd_sc_hd__einvn_2.add(gdstk.Label('TE', (3.68,1.597), layer=68, texttype=20))
sky130_fd_sc_hd__einvn_2.add(gdstk.Label('SNDA', (2.817,0.585), layer=68, texttype=20))
sky130_fd_sc_hd__einvn_2.add(gdstk.Label('SNDA', (2.932,0.585), layer=68, texttype=20))
sky130_fd_sc_hd__einvn_2.add(gdstk.Label('SNDA', (3.047,0.585), layer=68, texttype=20))
sky130_fd_sc_hd__einvn_2.add(gdstk.Label('VGND', (2.415,0), layer=68, texttype=20))
sky130_fd_sc_hd__einvn_2.add(gdstk.Label('VGND', (2.415,0), layer=68, texttype=20))
sky130_fd_sc_hd__einvn_2.add(gdstk.Label('SNDA', (2.127,0.585), layer=68, texttype=20))
sky130_fd_sc_hd__einvn_2.add(gdstk.Label('SNDA', (2.242,0.585), layer=68, texttype=20))
sky130_fd_sc_hd__einvn_2.add(gdstk.Label('SNDA', (3.105,0.585), layer=68, texttype=20))
sky130_fd_sc_hd__einvn_2.add(gdstk.Label('SNDA', (2.357,0.585), layer=68, texttype=20))
sky130_fd_sc_hd__einvn_2.add(gdstk.Label('VGND', (2.415,0), layer=68, texttype=20))
sky130_fd_sc_hd__einvn_2.add(gdstk.Label('TE', (3.68,0.585), layer=68, texttype=20))
sky130_fd_sc_hd__einvn_2.add(gdstk.Label('TE', (2.76,1.26), layer=68, texttype=20))
sky130_fd_sc_hd__einvn_2.add(gdstk.Label('SNDA', (2.472,0.585), layer=68, texttype=20))
sky130_fd_sc_hd__einvn_2.add(gdstk.Label('SNDA', (2.587,0.585), layer=68, texttype=20))
sky130_fd_sc_hd__einvn_2.add(gdstk.Label('SNDA', (2.702,0.585), layer=68, texttype=20))
sky130_fd_sc_hd__einvn_2.add(gdstk.Label('TE', (3.68,0.652), layer=68, texttype=20))
sky130_fd_sc_hd__einvn_2.add(gdstk.Label('TE', (3.68,0.732), layer=68, texttype=20))
sky130_fd_sc_hd__einvn_2.add(gdstk.Label('TE', (3.68,0.8), layer=68, texttype=20))
sky130_fd_sc_hd__einvn_2.add(gdstk.Label('TE', (3.68,0.922), layer=68, texttype=20))
sky130_fd_sc_hd__einvn_2.add(gdstk.Label('VGND', (2.415,0), layer=68, texttype=5))
sky130_fd_sc_hd__einvn_2.add(gdstk.Label('VPWR', (2.415,3.33), layer=68, texttype=5))

lib.write_gds('sky130_fd_sc_hd__einvn_2.gds')
